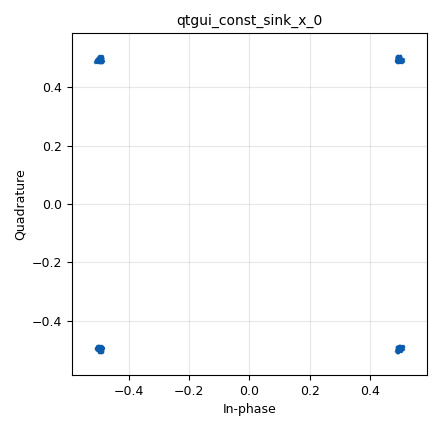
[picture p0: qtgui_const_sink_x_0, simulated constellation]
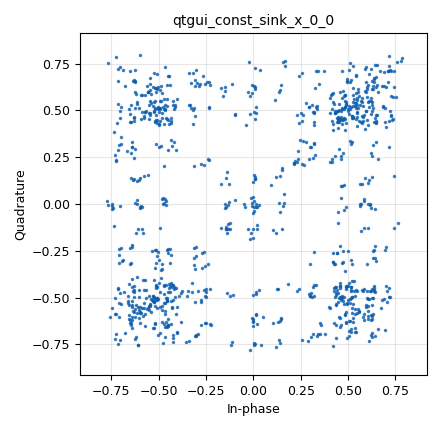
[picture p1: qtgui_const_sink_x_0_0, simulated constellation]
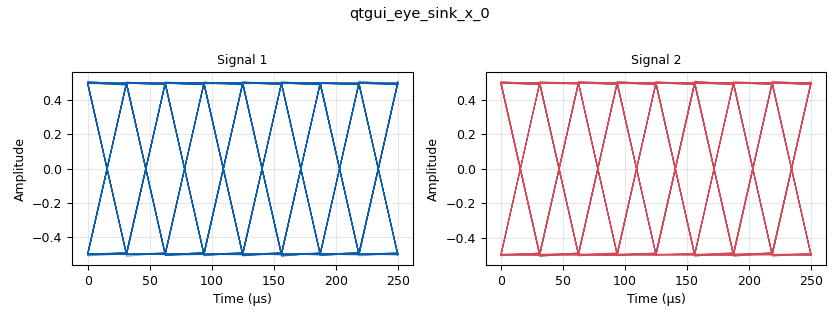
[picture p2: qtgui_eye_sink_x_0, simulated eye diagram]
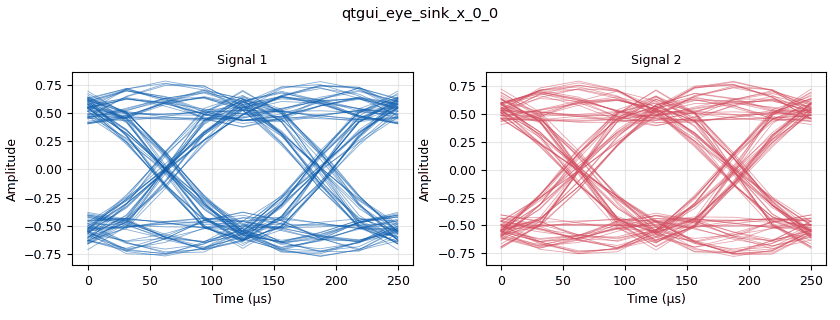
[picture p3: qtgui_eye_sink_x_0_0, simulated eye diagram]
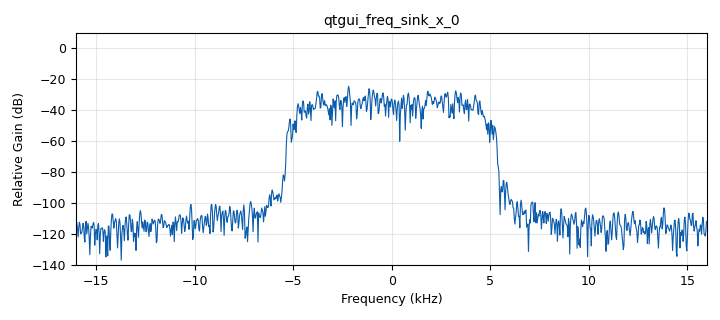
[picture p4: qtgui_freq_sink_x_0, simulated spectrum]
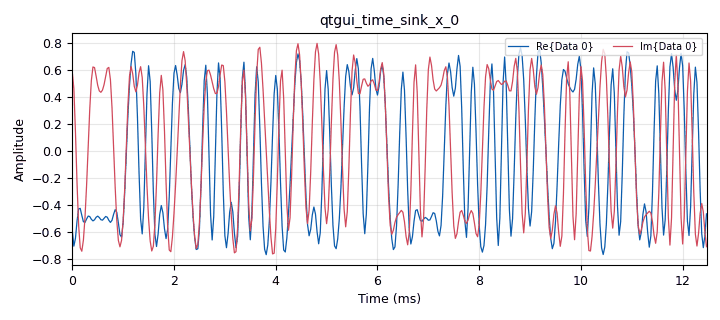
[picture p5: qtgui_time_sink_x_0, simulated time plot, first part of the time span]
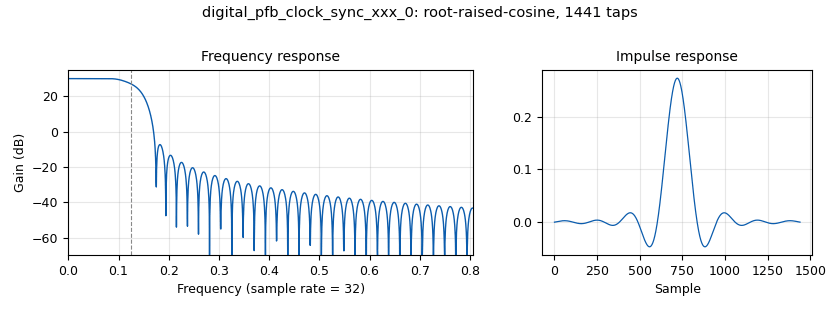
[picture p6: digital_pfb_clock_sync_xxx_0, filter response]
options:
  parameters:
    generate_options: qt_gui
    id: top_block
    output_language: python
    title: QPSK_TXr
  states: {}

blocks:
- name: loop_bw
  id: variable
  parameters:
    value: '0.0628'
  states: {}
- name: nfilts
  id: variable
  parameters:
    value: '32'
  states: {}
- name: rrc_taps
  id: variable
  parameters:
    value: firdes.root_raised_cosine(nfilts, nfilts, 1.0/float(sps), 0.35, 45*nfilts)
  states: {}
- name: samp_rate
  id: variable
  parameters:
    value: '32000'
  states: {}
- name: sps
  id: variable
  parameters:
    value: '4'
  states: {}
- name: xs_bw
  id: variable_qtgui_range
  parameters:
    start: '0'
    step: '0.05'
    stop: '2'
    value: '0.5'
  states: {}
- name: analog_random_source_x_0
  id: analog_random_source_x
  parameters:
    max: '255'
    min: '0'
    num_samps: '1024'
    repeat: 'True'
    type: byte
  states: {}
- name: blocks_multiply_const_vxx_0
  id: blocks_multiply_const_vxx
  parameters:
    const: 0.5+0.5j
    type: complex
  states: {}
- name: blocks_throttle_0
  id: blocks_throttle
  parameters:
    samples_per_second: samp_rate
    type: complex
  states: {}
- name: digital_pfb_clock_sync_xxx_0
  id: digital_pfb_clock_sync_xxx
  parameters:
    filter_size: '32'
    init_phase: '16'
    loop_bw: loop_bw
    max_dev: '1.5'
    osps: '1'
    sps: sps
    taps: rrc_taps
    type: ccf
  states: {}
- name: digital_psk_mod_0
  id: digital_psk_mod
  parameters:
    constellation_points: '4'
    differential: 'True'
    excess_bw: '0.35'
    mod_code: '"gray"'
    samples_per_symbol: '4'
  states: {}
- name: qtgui_const_sink_x_0
  id: qtgui_const_sink_x
  parameters:
    autoscale: 'True'
    grid: 'True'
    size: '1024'
    type: complex
  states: {}
- name: qtgui_const_sink_x_0_0
  id: qtgui_const_sink_x
  parameters:
    autoscale: 'True'
    grid: 'True'
    size: '1024'
    style1: '2'
    type: complex
  states: {}
- name: qtgui_eye_sink_x_0
  id: qtgui_eye_sink_x
  parameters:
    autoscale: 'True'
    ctrlpanel: 'True'
    samp_per_symbol: '4'
    size: '1024'
    srate: samp_rate
    type: complex
  states: {}
- name: qtgui_eye_sink_x_0_0
  id: qtgui_eye_sink_x
  parameters:
    autoscale: 'True'
    ctrlpanel: 'True'
    samp_per_symbol: '4'
    size: '1024'
    srate: samp_rate
    type: complex
  states: {}
- name: qtgui_freq_sink_x_0
  id: qtgui_freq_sink_x
  parameters:
    bw: samp_rate
    fc: '0'
    fftsize: '1024'
    type: complex
  states: {}
- name: qtgui_time_sink_x_0
  id: qtgui_time_sink_x
  parameters:
    autoscale: 'True'
    ctrlpanel: 'True'
    grid: 'True'
    size: '1024'
    srate: samp_rate
    type: complex
  states: {}

connections:
- [analog_random_source_x_0, '0', digital_psk_mod_0, '0']
- [blocks_multiply_const_vxx_0, '0', blocks_throttle_0, '0']
- [blocks_throttle_0, '0', digital_pfb_clock_sync_xxx_0, '0']
- [blocks_throttle_0, '0', qtgui_const_sink_x_0_0, '0']
- [blocks_throttle_0, '0', qtgui_eye_sink_x_0_0, '0']
- [blocks_throttle_0, '0', qtgui_freq_sink_x_0, '0']
- [blocks_throttle_0, '0', qtgui_time_sink_x_0, '0']
- [digital_pfb_clock_sync_xxx_0, '0', qtgui_const_sink_x_0, '0']
- [digital_pfb_clock_sync_xxx_0, '0', qtgui_eye_sink_x_0, '0']
- [digital_psk_mod_0, '0', blocks_multiply_const_vxx_0, '0']

metadata:
  file_format: 1
